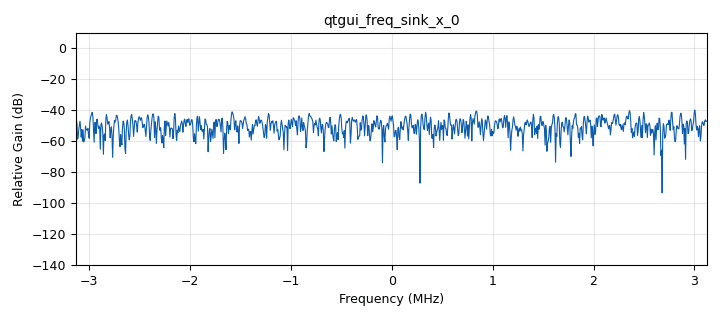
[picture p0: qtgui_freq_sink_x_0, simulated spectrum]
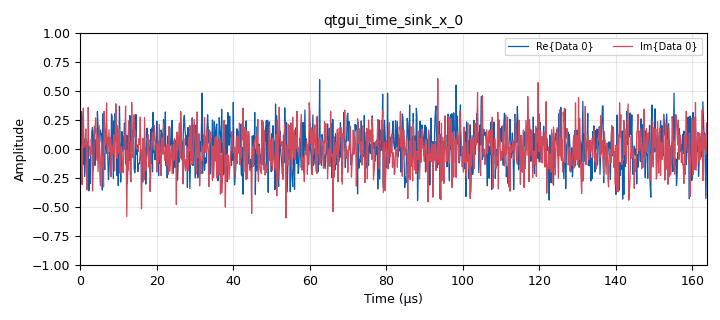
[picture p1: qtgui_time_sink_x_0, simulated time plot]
options:
  parameters:
    author: JAIRO_KAREN_EDSON
    generate_options: qt_gui
    id: practica1_labcomu2_subgrupo5
    output_language: python
    title: PRACTICAANCHO DE BANDA
  states: {}

blocks:
- name: GTX
  id: variable_qtgui_range
  parameters:
    label: ganancia tx
    start: '0'
    step: '1'
    stop: '30'
    value: '0'
  states: {}
- name: N0
  id: variable_qtgui_range
  parameters:
    label: amplitud ruido
    start: '1E-6'
    step: '1E-6'
    stop: '0.5'
    value: '0.250'
  states: {}
- name: fc
  id: variable_qtgui_range
  parameters:
    label: frecuencia portadora
    start: '50000000'
    step: '1000000'
    stop: '2200000000'
    value: '50000000'
  states: {}
- name: samp_rate
  id: variable
  parameters:
    value: 12500000/2
  states: {}
- name: analog_noise_source_x_0
  id: analog_noise_source_x
  parameters:
    amp: N0
    noise_type: analog.GR_GAUSSIAN
    seed: '0'
    type: complex
  states: {}
- name: blocks_throttle_0
  id: blocks_throttle
  parameters:
    samples_per_second: samp_rate
    type: complex
  states: {}
- name: qtgui_freq_sink_x_0
  id: qtgui_freq_sink_x
  parameters:
    bw: samp_rate
    fc: '0'
    fftsize: '1024'
    type: complex
  states: {}
- name: qtgui_time_sink_x_0
  id: qtgui_time_sink_x
  parameters:
    size: '1024'
    srate: samp_rate
    type: complex
  states: {}
- name: uhd_usrp_sink_0
  id: uhd_usrp_sink
  parameters:
    ant0: '"TX/RX"'
    center_freq0: fc
    gain0: GTX
    samp_rate: samp_rate
    sync: pc_clock
    type: fc32
  states: {}

connections:
- [analog_noise_source_x_0, '0', blocks_throttle_0, '0']
- [blocks_throttle_0, '0', qtgui_freq_sink_x_0, '0']
- [blocks_throttle_0, '0', qtgui_time_sink_x_0, '0']
- [blocks_throttle_0, '0', uhd_usrp_sink_0, '0']

metadata:
  file_format: 1
